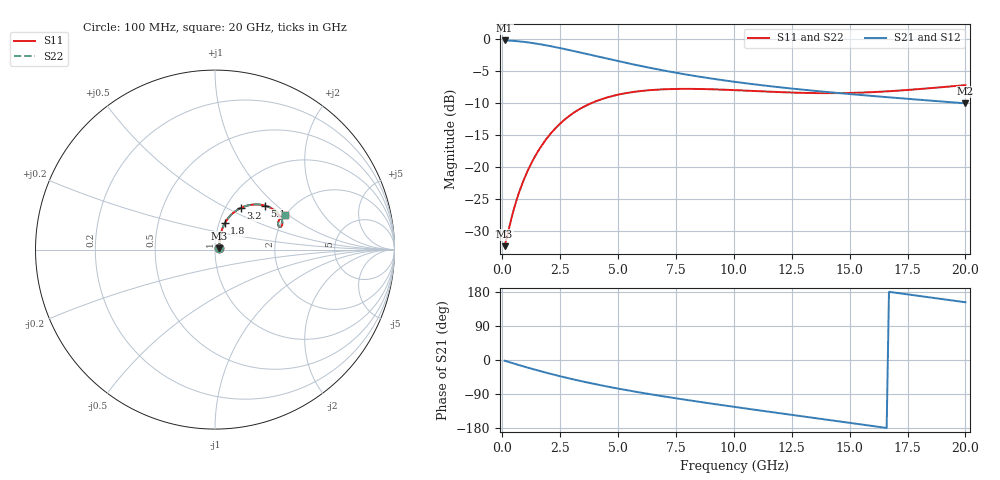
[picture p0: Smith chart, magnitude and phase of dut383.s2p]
! Touchstone file exported from HFSS 2024.1.0
!  File:  C:/UserFiles/LocalFiles/RDL_TSV_Batchsim/temp_RDL_TSV_383_1779645668.aedt
!  Generated:  02:16:51 AM May 25, 2026
!  Design:  RDL_TSV
!  Project:  temp_RDL_TSV_383_1779645668
!  Setup:  Setup1
!  Solution:  Sweep
! Variables:
!  dtsv = 10.22um
!  hbump = 3um
!  htsv = 63.72um
!  ldown = 312.5um
!  lrdl = 520.85um
!  p = 40
!  p1 = 58.04um
!  rhole = 10um
!  subl = 3020.9um
!  t = 450um
!  tdown = 4.21um
!  trdl = 3.6um
!  viad = 10um
!  wdown = 17.57um
!  wrdl = 11.46um
!  xbump = 18um
# GHz S MA R 50.000000
! Terminal data exported
! Port[1] = TM1_1_T1
! Port[2] = TM1_4_T1
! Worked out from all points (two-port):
!   200 points, 100 MHz to 20 GHz, reference 50 ohm
!   highest |S21| = -0.20 dB at 100 MHz (marker M1); lowest = -10.1 dB at 20 GHz (marker M2)
!   |S21| within 3 dB of the highest: start of sweep to 4.708 GHz
!   lowest |S11| = -32.5 dB at 100 MHz (marker M3), VSWR 1.05, Z = 52.3 + j0.851 ohm
!   |S11| at or under -10 dB: start of sweep to 3.862 GHz
!   |S22| runs from -32.5 to -7.2 dB; largest |S21 - S12| = 2.1e-14
!   S11 on the Smith chart (normalised r, x): 100 MHz: 1.05, +0.02; 1.8 GHz: 1.06, +0.32; 3.2 GHz: 1.18, +0.59; 5.1 GHz: 1.48, +0.84; 20 GHz: 1.98, +0.95
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0.1  0.02385 19.9  0.9773 -1.9  0.9773 -1.9  0.02385 19.9
! Gamma 0 0 0 0
! Port Impedance 50 0 50 0
0.5  0.04647 57.6  0.9693 -9.4  0.9693 -9.4  0.04647 57.7
0.8  0.06867 66.3  0.9585 -14.8  0.9585 -14.8  0.06867 66.4
1  0.08482 69.1  0.9494 -18.4  0.9494 -18.4  0.08482 69.1
1.3  0.1105 70.7  0.9334 -23.6  0.9334 -23.6  0.1106 70.8
1.8  0.1557 69.7  0.9016 -32.0  0.9016 -32.0  0.1558 69.8
2.1  0.183 67.9  0.8805 -36.8  0.8805 -36.8  0.1831 67.9
2.5  0.2182 64.6  0.8511 -42.9  0.8511 -42.9  0.2183 64.7
3.2  0.2736 58.1  0.7985 -53.0  0.7985 -53.0  0.2738 58.1
3.5  0.2942 55.2  0.7761 -57.0  0.7761 -57.0  0.2944 55.3
4.2  0.3343 48.8  0.726 -66.0  0.726 -66.0  0.3346 48.8
5.1  0.3706 41.4  0.6671 -76.6  0.6671 -76.6  0.371 41.4
5.9  0.3908 35.8  0.621 -85.2  0.621 -85.2  0.3913 35.9
6.8  0.4033 30.7  0.5761 -94.4  0.5761 -94.4  0.4038 30.7
8.3  0.4076 24.4  0.5156 -108.5  0.5156 -108.5  0.4081 24.5
10.1  0.3982 20.2  0.4614 -124.4  0.4614 -124.4  0.3988 20.3
11.7  0.3865 19.0  0.4253 -138.1  0.4253 -138.1  0.387 19.1
13.4  0.3781 20.0  0.395 -152.4  0.395 -152.4  0.3786 20.1
15  0.3789 22.1  0.3716 -165.8  0.3716 -165.8  0.3795 22.2
16.7  0.3908 24.4  0.3501 179.9  0.3501 179.9  0.3914 24.6
18.3  0.4105 26.0  0.3319 166.5  0.3319 166.5  0.4112 26.1
20  0.4361 26.4  0.3143 152.4  0.3143 152.4  0.437 26.6
